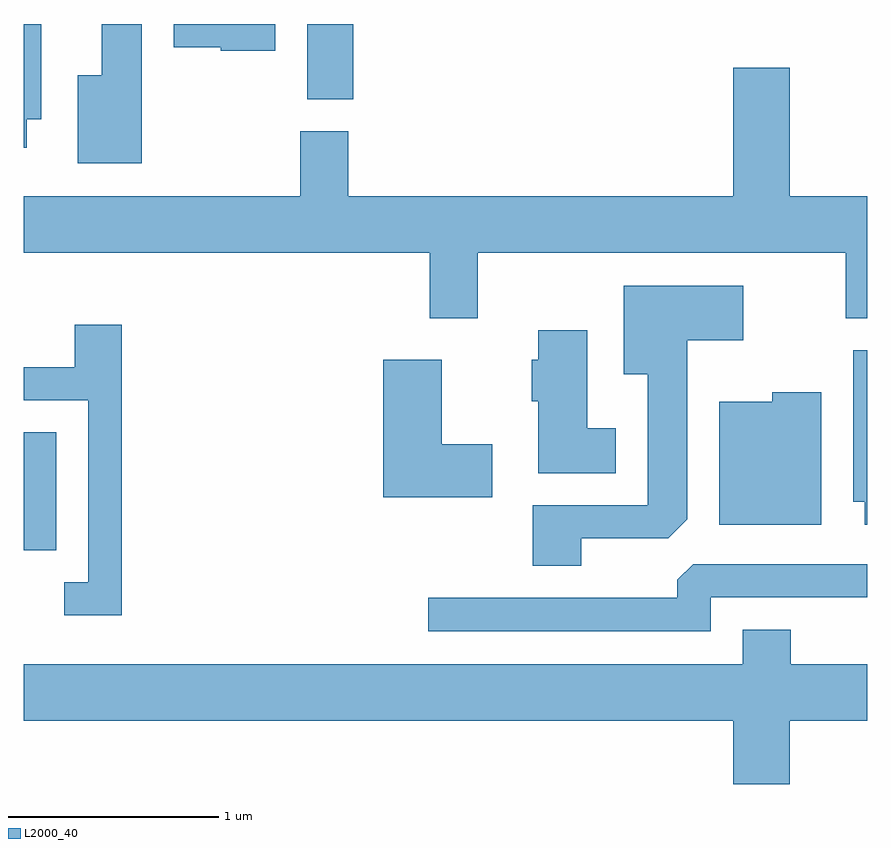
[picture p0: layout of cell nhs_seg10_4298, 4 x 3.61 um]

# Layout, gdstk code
import gdstk
lib = gdstk.Library(unit=1e-6, precision=1e-09)
def R(c, l, rs):  # rectangles x0, y0, x1, y1
    for r in rs: c.add(gdstk.rectangle(r[:2], r[2:], *l))
def P(c, l, *ps):  # polygons
    for p in ps: c.add(gdstk.Polygon(p, *l))
L2000_40 = (2000, 40)

nhs_seg10_4298 = lib.new_cell('nhs_seg10_4298')
R(nhs_seg10_4298, L2000_40, [(311.611,2148.026,311.764,2148.584), (312.956,2150.166,313.174,2150.522)])
P(nhs_seg10_4298, L2000_40, [(312.169,2150.522),(311.981,2150.522),(311.981,2150.279),(311.866,2150.279),(311.866,2149.861),(312.169,2149.861)],
  [(312.804,2150.522),(312.321,2150.522),(312.321,2150.411),(312.545,2150.411),(312.545,2150.396),(312.804,2150.396)],
  [(311.624,2150.071),(311.694,2150.071),(311.694,2150.522),(311.611,2150.522),(311.611,2149.936),(311.624,2149.936)],
  [(313.764,2149.436),(315.511,2149.436),(315.511,2149.126),(315.611,2149.126),(315.611,2149.704),(315.244,2149.704),(315.244,2150.314),(314.976,2150.314),(314.976,2149.704),(313.149,2149.704),(313.149,2150.014),(312.921,2150.014),(312.921,2149.704),(311.611,2149.704),(311.611,2149.436),(313.536,2149.436),(313.536,2149.126),(313.764,2149.126)],
  [(314.254,2148.081),(314.669,2148.081),(314.759,2148.172),(314.759,2149.021),(315.024,2149.021),(315.024,2149.279),(314.456,2149.279),(314.456,2148.861),(314.571,2148.861),(314.571,2148.239),(314.026,2148.239),(314.026,2147.951),(314.254,2147.951)],
  [(312.074,2149.094),(311.851,2149.094),(311.851,2148.894),(311.611,2148.894),(311.611,2148.736),(311.916,2148.736),(311.916,2147.874),(311.803,2147.874),(311.803,2147.716),(312.074,2147.716)],
  [(314.419,2148.604),(314.284,2148.604),(314.284,2149.069),(314.051,2149.069),(314.051,2148.929),(314.021,2148.929),(314.021,2148.731),(314.051,2148.731),(314.051,2148.391),(314.419,2148.391)],
  [(315.611,2148.974),(315.546,2148.974),(315.546,2148.256),(315.601,2148.256),(315.601,2148.146),(315.611,2148.146)],
  [(313.834,2148.529),(313.594,2148.529),(313.594,2148.929),(313.316,2148.929),(313.316,2148.276),(313.834,2148.276)],
  [(315.394,2148.774),(315.161,2148.774),(315.161,2148.729),(314.911,2148.729),(314.911,2148.146),(315.394,2148.146)],
  [(314.869,2147.801),(315.611,2147.801),(315.611,2147.959),(314.787,2147.959),(314.711,2147.884),(314.711,2147.799),(313.528,2147.799),(313.528,2147.641),(314.869,2147.641)],
  [(315.244,2147.216),(315.611,2147.216),(315.611,2147.484),(315.249,2147.484),(315.249,2147.649),(315.021,2147.649),(315.021,2147.484),(311.611,2147.484),(311.611,2147.216),(314.976,2147.216),(314.976,2146.916),(315.244,2146.916)])

lib.write_gds('nhs_seg10_4298.gds')
